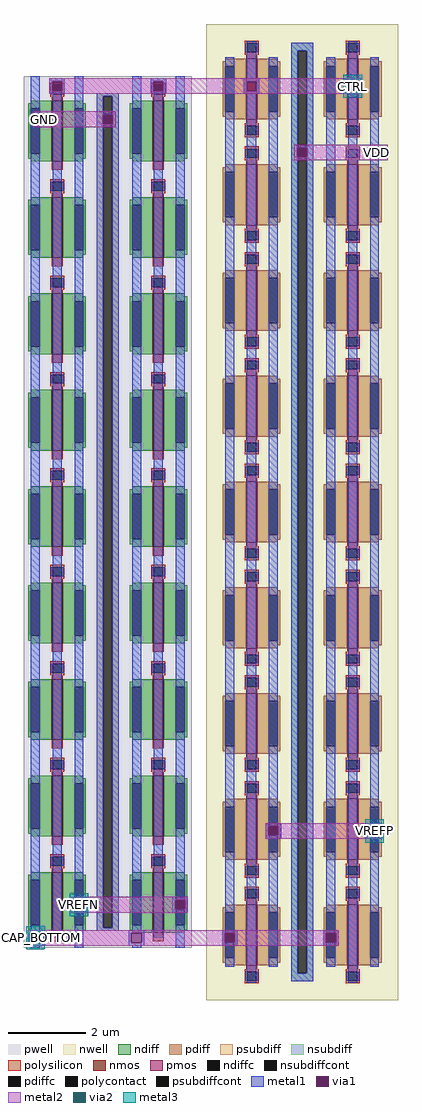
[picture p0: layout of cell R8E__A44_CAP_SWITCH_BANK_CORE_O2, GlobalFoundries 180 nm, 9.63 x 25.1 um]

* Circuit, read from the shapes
.subckt R8E__A44_CAP_SWITCH_BANK_CORE_O2 VREFP VREFN CTRL CAP_BOTTOM VDD GND
XM1 VREFN CTRL CAP_BOTTOM GND nfet_03v3 w=1.56u l=0.28u m=18
XM2 VREFP CTRL CAP_BOTTOM VDD pfet_03v3 w=1.56u l=0.28u m=18
.ends

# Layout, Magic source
magic
tech gf180mcuD
magscale 1 10
<< nwell >>
rect 766 -2510 1754 2510
<< pwell >>
rect -172 -2240 692 2240
<< psubdiff >>
rect 204 2138 316 2154
rect 204 -2138 237 2138
rect 283 -2138 316 2138
rect 204 -2154 316 -2138
<< nsubdiff >>
rect 1204 2373 1316 2414
rect 1204 -2373 1237 2373
rect 1283 -2373 1316 2373
rect 1204 -2414 1316 -2373
<< psubdiffcont >>
rect 237 -2138 283 2138
<< nsubdiffcont >>
rect 1237 -2373 1283 2373
<< metal1 >>
rect -135 -2150 -89 2240
rect -40 2216 40 2230
rect -40 2164 -26 2216
rect 26 2164 40 2216
rect -40 2150 40 2164
rect -152 -2164 -72 -2150
rect -152 -2216 -138 -2164
rect -86 -2216 -72 -2164
rect -24 -2190 24 2150
rect 89 -1980 135 2240
rect 204 2138 316 2154
rect 204 2046 237 2138
rect 283 2046 316 2138
rect 204 1994 234 2046
rect 286 1994 316 2046
rect 72 -1994 152 -1980
rect 72 -2046 86 -1994
rect 138 -2046 152 -1994
rect 72 -2060 152 -2046
rect -152 -2230 -72 -2216
rect -135 -2240 -89 -2230
rect 89 -2240 135 -2060
rect 204 -2138 237 1994
rect 283 -2138 316 1994
rect 204 -2154 316 -2138
rect 385 -2150 431 2240
rect 480 2216 560 2230
rect 480 2164 494 2216
rect 546 2164 560 2216
rect 480 2150 560 2164
rect 368 -2164 448 -2150
rect 368 -2216 382 -2164
rect 434 -2216 448 -2164
rect 496 -2190 544 2150
rect 609 -1980 655 2240
rect 592 -1994 672 -1980
rect 592 -2046 606 -1994
rect 658 -2046 672 -1994
rect 592 -2060 672 -2046
rect 368 -2230 448 -2216
rect 385 -2240 431 -2230
rect 609 -2240 655 -2060
rect 865 -2150 911 2340
rect 976 2230 1024 2420
rect 1204 2373 1316 2414
rect 960 2216 1040 2230
rect 960 2164 974 2216
rect 1026 2164 1040 2216
rect 960 2150 1040 2164
rect 848 -2164 928 -2150
rect 848 -2216 862 -2164
rect 914 -2216 928 -2164
rect 848 -2230 928 -2216
rect 865 -2340 911 -2230
rect 976 -2420 1024 2150
rect 1089 -1600 1135 2340
rect 1204 1876 1237 2373
rect 1283 1876 1316 2373
rect 1204 1824 1234 1876
rect 1286 1824 1316 1876
rect 1072 -1614 1152 -1600
rect 1072 -1666 1086 -1614
rect 1138 -1666 1152 -1614
rect 1072 -1680 1152 -1666
rect 1089 -2340 1135 -1680
rect 1204 -2373 1237 1824
rect 1283 -2373 1316 1824
rect 1385 -2150 1431 2340
rect 1496 2230 1544 2420
rect 1480 2216 1560 2230
rect 1480 2164 1494 2216
rect 1546 2164 1560 2216
rect 1480 2150 1560 2164
rect 1368 -2164 1448 -2150
rect 1368 -2216 1382 -2164
rect 1434 -2216 1448 -2164
rect 1368 -2230 1448 -2216
rect 1385 -2340 1431 -2230
rect 1204 -2414 1316 -2373
rect 1496 -2420 1544 2150
rect 1609 -1600 1655 2340
rect 1592 -1614 1672 -1600
rect 1592 -1666 1606 -1614
rect 1658 -1666 1672 -1614
rect 1592 -1680 1672 -1666
rect 1609 -2340 1655 -1680
<< via1 >>
rect -26 2164 26 2216
rect -138 -2216 -86 -2164
rect 234 1994 237 2046
rect 237 1994 283 2046
rect 283 1994 286 2046
rect 86 -2046 138 -1994
rect 494 2164 546 2216
rect 382 -2216 434 -2164
rect 606 -2046 658 -1994
rect 974 2164 1026 2216
rect 862 -2216 914 -2164
rect 1234 1824 1237 1876
rect 1237 1824 1283 1876
rect 1283 1824 1286 1876
rect 1086 -1666 1138 -1614
rect 1494 2164 1546 2216
rect 1382 -2216 1434 -2164
rect 1606 -1666 1658 -1614
<< metal2 >>
rect -40 2218 1560 2230
rect -40 2216 1492 2218
rect -40 2164 -26 2216
rect 26 2164 494 2216
rect 546 2164 974 2216
rect 1026 2164 1492 2216
rect -40 2162 1492 2164
rect 1548 2162 1560 2218
rect -40 2150 1560 2162
rect -120 2046 300 2060
rect -120 1994 234 2046
rect 286 1994 300 2046
rect -120 1980 300 1994
rect 1220 1876 1700 1890
rect 1220 1824 1234 1876
rect 1286 1824 1700 1876
rect 1220 1810 1700 1824
rect 1072 -1612 1672 -1600
rect 1072 -1614 1604 -1612
rect 1072 -1666 1086 -1614
rect 1138 -1666 1604 -1614
rect 1072 -1668 1604 -1666
rect 1660 -1668 1672 -1612
rect 1072 -1680 1672 -1668
rect 72 -1992 672 -1980
rect 72 -2048 84 -1992
rect 140 -1994 672 -1992
rect 140 -2046 606 -1994
rect 658 -2046 672 -1994
rect 140 -2048 672 -2046
rect 72 -2060 672 -2048
rect -152 -2162 1448 -2150
rect -152 -2218 -140 -2162
rect -84 -2164 1448 -2162
rect -84 -2216 382 -2164
rect 434 -2216 862 -2164
rect 914 -2216 1382 -2164
rect 1434 -2216 1448 -2164
rect -84 -2218 1448 -2216
rect -152 -2230 1448 -2218
<< via2 >>
rect 1492 2216 1548 2218
rect 1492 2164 1494 2216
rect 1494 2164 1546 2216
rect 1546 2164 1548 2216
rect 1492 2162 1548 2164
rect 1604 -1614 1660 -1612
rect 1604 -1666 1606 -1614
rect 1606 -1666 1658 -1614
rect 1658 -1666 1660 -1614
rect 1604 -1668 1660 -1666
rect 84 -1994 140 -1992
rect 84 -2046 86 -1994
rect 86 -2046 138 -1994
rect 138 -2046 140 -1994
rect 84 -2048 140 -2046
rect -140 -2164 -84 -2162
rect -140 -2216 -138 -2164
rect -138 -2216 -86 -2164
rect -86 -2216 -84 -2164
rect -140 -2218 -84 -2216
<< metal3 >>
rect 1472 2218 1568 2250
rect 1472 2162 1492 2218
rect 1548 2162 1568 2218
rect 1472 2130 1568 2162
rect 1584 -1612 1680 -1580
rect 1584 -1668 1604 -1612
rect 1660 -1668 1680 -1612
rect 1584 -1700 1680 -1668
rect 64 -1992 160 -1960
rect 64 -2048 84 -1992
rect 140 -2048 160 -1992
rect 64 -2080 160 -2048
rect -160 -2162 -64 -2130
rect -160 -2218 -140 -2162
rect -84 -2218 -64 -2162
rect -160 -2250 -64 -2218
use R8E__A44_G6_NFET_M9_GUARD0_R0  N0
transform 1 0 0 0 1 0
box -172 -2232 172 2232
use R8E__A44_G6_NFET_M9_GUARD0_R0  N1
transform 1 0 520 0 1 0
box -172 -2232 172 2232
use R8E__A44_G6_PFET_M9_GUARD0_R0  P0
transform 1 0 1000 0 1 0
box -234 -2510 234 2510
use R8E__A44_G6_PFET_M9_GUARD0_R0  P1
transform 1 0 1520 0 1 0
box -234 -2510 234 2510
<< labels >>
rlabel metal3 s 1592 -1676 1672 -1604 4 VREFP
port 3 nsew
rlabel metal3 s 72 -2056 152 -1984 4 VREFN
port 5 nsew
rlabel metal3 s 1480 2154 1560 2226 4 CTRL
port 7 nsew
rlabel metal3 s -152 -2226 -72 -2154 4 CAP_BOTTOM
port 9 nsew
rlabel metal2 s 1604 1818 1684 1882 4 VDD
port 12 nsew
rlabel metal2 s -104 1988 -24 2052 4 GND
port 14 nsew
<< properties >>
string GDS_END 137392
string GDS_FILE ../native_sources/A44_A_Q2_BEFORE_ESD.gds
string GDS_START 125802
<< end >>

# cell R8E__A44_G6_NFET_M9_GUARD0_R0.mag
magic
tech gf180mcuD
magscale 1 5
use R8E__nfet_03v3_ATEY9D  M9_R0
transform 1 0 0 0 1 0
box -86 -1116 86 1116
<< properties >>
string GDS_END 54690
string GDS_FILE ../native_sources/A44_A_Q2_BEFORE_ESD.gds
string GDS_START 54624
<< end >>

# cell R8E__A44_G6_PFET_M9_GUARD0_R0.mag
magic
tech gf180mcuD
magscale 1 5
use R8E__pfet_03v3_XNC3G5  M9_R0
transform 1 0 0 0 1 0
box -117 -1255 117 1255
<< properties >>
string GDS_END 54818
string GDS_FILE ../native_sources/A44_A_Q2_BEFORE_ESD.gds
string GDS_START 54752
<< end >>

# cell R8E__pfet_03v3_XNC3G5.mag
magic
tech gf180mcuD
magscale 1 10
<< nwell >>
rect -234 -2510 234 2510
<< pmos >>
rect -28 2020 28 2332
rect -28 1476 28 1788
rect -28 932 28 1244
rect -28 388 28 700
rect -28 -156 28 156
rect -28 -700 28 -388
rect -28 -1244 28 -932
rect -28 -1788 28 -1476
rect -28 -2332 28 -2020
<< pdiff >>
rect -135 2318 -28 2332
rect -148 2293 -28 2318
rect -148 2059 -135 2293
rect -89 2059 -28 2293
rect -148 2034 -28 2059
rect -135 2020 -28 2034
rect 28 2318 135 2332
rect 28 2293 148 2318
rect 28 2059 89 2293
rect 135 2059 148 2293
rect 28 2034 148 2059
rect 28 2020 135 2034
rect -135 1774 -28 1788
rect -148 1749 -28 1774
rect -148 1515 -135 1749
rect -89 1515 -28 1749
rect -148 1490 -28 1515
rect -135 1476 -28 1490
rect 28 1774 135 1788
rect 28 1749 148 1774
rect 28 1515 89 1749
rect 135 1515 148 1749
rect 28 1490 148 1515
rect 28 1476 135 1490
rect -135 1230 -28 1244
rect -148 1205 -28 1230
rect -148 971 -135 1205
rect -89 971 -28 1205
rect -148 946 -28 971
rect -135 932 -28 946
rect 28 1230 135 1244
rect 28 1205 148 1230
rect 28 971 89 1205
rect 135 971 148 1205
rect 28 946 148 971
rect 28 932 135 946
rect -135 686 -28 700
rect -148 661 -28 686
rect -148 427 -135 661
rect -89 427 -28 661
rect -148 402 -28 427
rect -135 388 -28 402
rect 28 686 135 700
rect 28 661 148 686
rect 28 427 89 661
rect 135 427 148 661
rect 28 402 148 427
rect 28 388 135 402
rect -135 142 -28 156
rect -148 117 -28 142
rect -148 -117 -135 117
rect -89 -117 -28 117
rect -148 -142 -28 -117
rect -135 -156 -28 -142
rect 28 142 135 156
rect 28 117 148 142
rect 28 -117 89 117
rect 135 -117 148 117
rect 28 -142 148 -117
rect 28 -156 135 -142
rect -135 -402 -28 -388
rect -148 -427 -28 -402
rect -148 -661 -135 -427
rect -89 -661 -28 -427
rect -148 -686 -28 -661
rect -135 -700 -28 -686
rect 28 -402 135 -388
rect 28 -427 148 -402
rect 28 -661 89 -427
rect 135 -661 148 -427
rect 28 -686 148 -661
rect 28 -700 135 -686
rect -135 -946 -28 -932
rect -148 -971 -28 -946
rect -148 -1205 -135 -971
rect -89 -1205 -28 -971
rect -148 -1230 -28 -1205
rect -135 -1244 -28 -1230
rect 28 -946 135 -932
rect 28 -971 148 -946
rect 28 -1205 89 -971
rect 135 -1205 148 -971
rect 28 -1230 148 -1205
rect 28 -1244 135 -1230
rect -135 -1490 -28 -1476
rect -148 -1515 -28 -1490
rect -148 -1749 -135 -1515
rect -89 -1749 -28 -1515
rect -148 -1774 -28 -1749
rect -135 -1788 -28 -1774
rect 28 -1490 135 -1476
rect 28 -1515 148 -1490
rect 28 -1749 89 -1515
rect 135 -1749 148 -1515
rect 28 -1774 148 -1749
rect 28 -1788 135 -1774
rect -135 -2034 -28 -2020
rect -148 -2059 -28 -2034
rect -148 -2293 -135 -2059
rect -89 -2293 -28 -2059
rect -148 -2318 -28 -2293
rect -135 -2332 -28 -2318
rect 28 -2034 135 -2020
rect 28 -2059 148 -2034
rect 28 -2293 89 -2059
rect 135 -2293 148 -2059
rect 28 -2318 148 -2293
rect 28 -2332 135 -2318
<< pdiffc >>
rect -135 2059 -89 2293
rect 89 2059 135 2293
rect -135 1515 -89 1749
rect 89 1515 135 1749
rect -135 971 -89 1205
rect 89 971 135 1205
rect -135 427 -89 661
rect 89 427 135 661
rect -135 -117 -89 117
rect 89 -117 135 117
rect -135 -661 -89 -427
rect 89 -661 135 -427
rect -135 -1205 -89 -971
rect 89 -1205 135 -971
rect -135 -1749 -89 -1515
rect 89 -1749 135 -1515
rect -135 -2293 -89 -2059
rect 89 -2293 135 -2059
<< polysilicon >>
rect -36 2411 36 2424
rect -36 2365 -23 2411
rect 23 2365 36 2411
rect -36 2352 36 2365
rect -28 2332 28 2352
rect -28 2000 28 2020
rect -36 1987 36 2000
rect -36 1941 -23 1987
rect 23 1941 36 1987
rect -36 1928 36 1941
rect -36 1867 36 1880
rect -36 1821 -23 1867
rect 23 1821 36 1867
rect -36 1808 36 1821
rect -28 1788 28 1808
rect -28 1456 28 1476
rect -36 1443 36 1456
rect -36 1397 -23 1443
rect 23 1397 36 1443
rect -36 1384 36 1397
rect -36 1323 36 1336
rect -36 1277 -23 1323
rect 23 1277 36 1323
rect -36 1264 36 1277
rect -28 1244 28 1264
rect -28 912 28 932
rect -36 899 36 912
rect -36 853 -23 899
rect 23 853 36 899
rect -36 840 36 853
rect -36 779 36 792
rect -36 733 -23 779
rect 23 733 36 779
rect -36 720 36 733
rect -28 700 28 720
rect -28 368 28 388
rect -36 355 36 368
rect -36 309 -23 355
rect 23 309 36 355
rect -36 296 36 309
rect -36 235 36 248
rect -36 189 -23 235
rect 23 189 36 235
rect -36 176 36 189
rect -28 156 28 176
rect -28 -176 28 -156
rect -36 -189 36 -176
rect -36 -235 -23 -189
rect 23 -235 36 -189
rect -36 -248 36 -235
rect -36 -309 36 -296
rect -36 -355 -23 -309
rect 23 -355 36 -309
rect -36 -368 36 -355
rect -28 -388 28 -368
rect -28 -720 28 -700
rect -36 -733 36 -720
rect -36 -779 -23 -733
rect 23 -779 36 -733
rect -36 -792 36 -779
rect -36 -853 36 -840
rect -36 -899 -23 -853
rect 23 -899 36 -853
rect -36 -912 36 -899
rect -28 -932 28 -912
rect -28 -1264 28 -1244
rect -36 -1277 36 -1264
rect -36 -1323 -23 -1277
rect 23 -1323 36 -1277
rect -36 -1336 36 -1323
rect -36 -1397 36 -1384
rect -36 -1443 -23 -1397
rect 23 -1443 36 -1397
rect -36 -1456 36 -1443
rect -28 -1476 28 -1456
rect -28 -1808 28 -1788
rect -36 -1821 36 -1808
rect -36 -1867 -23 -1821
rect 23 -1867 36 -1821
rect -36 -1880 36 -1867
rect -36 -1941 36 -1928
rect -36 -1987 -23 -1941
rect 23 -1987 36 -1941
rect -36 -2000 36 -1987
rect -28 -2020 28 -2000
rect -28 -2352 28 -2332
rect -36 -2365 36 -2352
rect -36 -2411 -23 -2365
rect 23 -2411 36 -2365
rect -36 -2424 36 -2411
<< polycontact >>
rect -23 2365 23 2411
rect -23 1941 23 1987
rect -23 1821 23 1867
rect -23 1397 23 1443
rect -23 1277 23 1323
rect -23 853 23 899
rect -23 733 23 779
rect -23 309 23 355
rect -23 189 23 235
rect -23 -235 23 -189
rect -23 -355 23 -309
rect -23 -779 23 -733
rect -23 -899 23 -853
rect -23 -1323 23 -1277
rect -23 -1443 23 -1397
rect -23 -1867 23 -1821
rect -23 -1987 23 -1941
rect -23 -2411 23 -2365
<< metal1 >>
rect -34 2365 -23 2411
rect 23 2365 34 2411
rect -135 2293 -89 2316
rect -135 2036 -89 2059
rect 89 2293 135 2316
rect 89 2036 135 2059
rect -34 1941 -23 1987
rect 23 1941 34 1987
rect -34 1821 -23 1867
rect 23 1821 34 1867
rect -135 1749 -89 1772
rect -135 1492 -89 1515
rect 89 1749 135 1772
rect 89 1492 135 1515
rect -34 1397 -23 1443
rect 23 1397 34 1443
rect -34 1277 -23 1323
rect 23 1277 34 1323
rect -135 1205 -89 1228
rect -135 948 -89 971
rect 89 1205 135 1228
rect 89 948 135 971
rect -34 853 -23 899
rect 23 853 34 899
rect -34 733 -23 779
rect 23 733 34 779
rect -135 661 -89 684
rect -135 404 -89 427
rect 89 661 135 684
rect 89 404 135 427
rect -34 309 -23 355
rect 23 309 34 355
rect -34 189 -23 235
rect 23 189 34 235
rect -135 117 -89 140
rect -135 -140 -89 -117
rect 89 117 135 140
rect 89 -140 135 -117
rect -34 -235 -23 -189
rect 23 -235 34 -189
rect -34 -355 -23 -309
rect 23 -355 34 -309
rect -135 -427 -89 -404
rect -135 -684 -89 -661
rect 89 -427 135 -404
rect 89 -684 135 -661
rect -34 -779 -23 -733
rect 23 -779 34 -733
rect -34 -899 -23 -853
rect 23 -899 34 -853
rect -135 -971 -89 -948
rect -135 -1228 -89 -1205
rect 89 -971 135 -948
rect 89 -1228 135 -1205
rect -34 -1323 -23 -1277
rect 23 -1323 34 -1277
rect -34 -1443 -23 -1397
rect 23 -1443 34 -1397
rect -135 -1515 -89 -1492
rect -135 -1772 -89 -1749
rect 89 -1515 135 -1492
rect 89 -1772 135 -1749
rect -34 -1867 -23 -1821
rect 23 -1867 34 -1821
rect -34 -1987 -23 -1941
rect 23 -1987 34 -1941
rect -135 -2059 -89 -2036
rect -135 -2316 -89 -2293
rect 89 -2059 135 -2036
rect 89 -2316 135 -2293
rect -34 -2411 -23 -2365
rect 23 -2411 34 -2365
<< properties >>
string GDS_END 25076
string GDS_FILE ../native_sources/A44_A_Q2_BEFORE_ESD.gds
string GDS_START 11760
<< end >>

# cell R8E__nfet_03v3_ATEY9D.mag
magic
tech gf180mcuD
magscale 1 10
<< pwell >>
rect -172 -2232 172 2232
<< nmos >>
rect -28 1804 28 2116
rect -28 1308 28 1620
rect -28 812 28 1124
rect -28 316 28 628
rect -28 -180 28 132
rect -28 -676 28 -364
rect -28 -1172 28 -860
rect -28 -1668 28 -1356
rect -28 -2164 28 -1852
<< ndiff >>
rect -135 2102 -28 2116
rect -148 2077 -28 2102
rect -148 1843 -135 2077
rect -89 1843 -28 2077
rect -148 1818 -28 1843
rect -135 1804 -28 1818
rect 28 2102 135 2116
rect 28 2077 148 2102
rect 28 1843 89 2077
rect 135 1843 148 2077
rect 28 1818 148 1843
rect 28 1804 135 1818
rect -135 1606 -28 1620
rect -148 1581 -28 1606
rect -148 1347 -135 1581
rect -89 1347 -28 1581
rect -148 1322 -28 1347
rect -135 1308 -28 1322
rect 28 1606 135 1620
rect 28 1581 148 1606
rect 28 1347 89 1581
rect 135 1347 148 1581
rect 28 1322 148 1347
rect 28 1308 135 1322
rect -135 1110 -28 1124
rect -148 1085 -28 1110
rect -148 851 -135 1085
rect -89 851 -28 1085
rect -148 826 -28 851
rect -135 812 -28 826
rect 28 1110 135 1124
rect 28 1085 148 1110
rect 28 851 89 1085
rect 135 851 148 1085
rect 28 826 148 851
rect 28 812 135 826
rect -135 614 -28 628
rect -148 589 -28 614
rect -148 355 -135 589
rect -89 355 -28 589
rect -148 330 -28 355
rect -135 316 -28 330
rect 28 614 135 628
rect 28 589 148 614
rect 28 355 89 589
rect 135 355 148 589
rect 28 330 148 355
rect 28 316 135 330
rect -135 118 -28 132
rect -148 93 -28 118
rect -148 -141 -135 93
rect -89 -141 -28 93
rect -148 -166 -28 -141
rect -135 -180 -28 -166
rect 28 118 135 132
rect 28 93 148 118
rect 28 -141 89 93
rect 135 -141 148 93
rect 28 -166 148 -141
rect 28 -180 135 -166
rect -135 -378 -28 -364
rect -148 -403 -28 -378
rect -148 -637 -135 -403
rect -89 -637 -28 -403
rect -148 -662 -28 -637
rect -135 -676 -28 -662
rect 28 -378 135 -364
rect 28 -403 148 -378
rect 28 -637 89 -403
rect 135 -637 148 -403
rect 28 -662 148 -637
rect 28 -676 135 -662
rect -135 -874 -28 -860
rect -148 -899 -28 -874
rect -148 -1133 -135 -899
rect -89 -1133 -28 -899
rect -148 -1158 -28 -1133
rect -135 -1172 -28 -1158
rect 28 -874 135 -860
rect 28 -899 148 -874
rect 28 -1133 89 -899
rect 135 -1133 148 -899
rect 28 -1158 148 -1133
rect 28 -1172 135 -1158
rect -135 -1370 -28 -1356
rect -148 -1395 -28 -1370
rect -148 -1629 -135 -1395
rect -89 -1629 -28 -1395
rect -148 -1654 -28 -1629
rect -135 -1668 -28 -1654
rect 28 -1370 135 -1356
rect 28 -1395 148 -1370
rect 28 -1629 89 -1395
rect 135 -1629 148 -1395
rect 28 -1654 148 -1629
rect 28 -1668 135 -1654
rect -135 -1866 -28 -1852
rect -148 -1891 -28 -1866
rect -148 -2125 -135 -1891
rect -89 -2125 -28 -1891
rect -148 -2150 -28 -2125
rect -135 -2164 -28 -2150
rect 28 -1866 135 -1852
rect 28 -1891 148 -1866
rect 28 -2125 89 -1891
rect 135 -2125 148 -1891
rect 28 -2150 148 -2125
rect 28 -2164 135 -2150
<< ndiffc >>
rect -135 1843 -89 2077
rect 89 1843 135 2077
rect -135 1347 -89 1581
rect 89 1347 135 1581
rect -135 851 -89 1085
rect 89 851 135 1085
rect -135 355 -89 589
rect 89 355 135 589
rect -135 -141 -89 93
rect 89 -141 135 93
rect -135 -637 -89 -403
rect 89 -637 135 -403
rect -135 -1133 -89 -899
rect 89 -1133 135 -899
rect -135 -1629 -89 -1395
rect 89 -1629 135 -1395
rect -135 -2125 -89 -1891
rect 89 -2125 135 -1891
<< polysilicon >>
rect -36 2195 36 2208
rect -36 2149 -23 2195
rect 23 2149 36 2195
rect -36 2136 36 2149
rect -28 2116 28 2136
rect -28 1760 28 1804
rect -36 1699 36 1712
rect -36 1653 -23 1699
rect 23 1653 36 1699
rect -36 1640 36 1653
rect -28 1620 28 1640
rect -28 1264 28 1308
rect -36 1203 36 1216
rect -36 1157 -23 1203
rect 23 1157 36 1203
rect -36 1144 36 1157
rect -28 1124 28 1144
rect -28 768 28 812
rect -36 707 36 720
rect -36 661 -23 707
rect 23 661 36 707
rect -36 648 36 661
rect -28 628 28 648
rect -28 272 28 316
rect -36 211 36 224
rect -36 165 -23 211
rect 23 165 36 211
rect -36 152 36 165
rect -28 132 28 152
rect -28 -224 28 -180
rect -36 -285 36 -272
rect -36 -331 -23 -285
rect 23 -331 36 -285
rect -36 -344 36 -331
rect -28 -364 28 -344
rect -28 -720 28 -676
rect -36 -781 36 -768
rect -36 -827 -23 -781
rect 23 -827 36 -781
rect -36 -840 36 -827
rect -28 -860 28 -840
rect -28 -1216 28 -1172
rect -36 -1277 36 -1264
rect -36 -1323 -23 -1277
rect 23 -1323 36 -1277
rect -36 -1336 36 -1323
rect -28 -1356 28 -1336
rect -28 -1712 28 -1668
rect -36 -1773 36 -1760
rect -36 -1819 -23 -1773
rect 23 -1819 36 -1773
rect -36 -1832 36 -1819
rect -28 -1852 28 -1832
rect -28 -2208 28 -2164
<< polycontact >>
rect -23 2149 23 2195
rect -23 1653 23 1699
rect -23 1157 23 1203
rect -23 661 23 707
rect -23 165 23 211
rect -23 -331 23 -285
rect -23 -827 23 -781
rect -23 -1323 23 -1277
rect -23 -1819 23 -1773
<< metal1 >>
rect -34 2149 -23 2195
rect 23 2149 34 2195
rect -135 2077 -89 2100
rect -135 1820 -89 1843
rect 89 2077 135 2100
rect 89 1820 135 1843
rect -34 1653 -23 1699
rect 23 1653 34 1699
rect -135 1581 -89 1604
rect -135 1324 -89 1347
rect 89 1581 135 1604
rect 89 1324 135 1347
rect -34 1157 -23 1203
rect 23 1157 34 1203
rect -135 1085 -89 1108
rect -135 828 -89 851
rect 89 1085 135 1108
rect 89 828 135 851
rect -34 661 -23 707
rect 23 661 34 707
rect -135 589 -89 612
rect -135 332 -89 355
rect 89 589 135 612
rect 89 332 135 355
rect -34 165 -23 211
rect 23 165 34 211
rect -135 93 -89 116
rect -135 -164 -89 -141
rect 89 93 135 116
rect 89 -164 135 -141
rect -34 -331 -23 -285
rect 23 -331 34 -285
rect -135 -403 -89 -380
rect -135 -660 -89 -637
rect 89 -403 135 -380
rect 89 -660 135 -637
rect -34 -827 -23 -781
rect 23 -827 34 -781
rect -135 -899 -89 -876
rect -135 -1156 -89 -1133
rect 89 -899 135 -876
rect 89 -1156 135 -1133
rect -34 -1323 -23 -1277
rect 23 -1323 34 -1277
rect -135 -1395 -89 -1372
rect -135 -1652 -89 -1629
rect 89 -1395 135 -1372
rect 89 -1652 135 -1629
rect -34 -1819 -23 -1773
rect 23 -1819 34 -1773
rect -135 -1891 -89 -1868
rect -135 -2148 -89 -2125
rect 89 -1891 135 -1868
rect 89 -2148 135 -2125
<< properties >>
string GDS_END 11706
string GDS_FILE ../native_sources/A44_A_Q2_BEFORE_ESD.gds
string GDS_START 118
<< end >>
